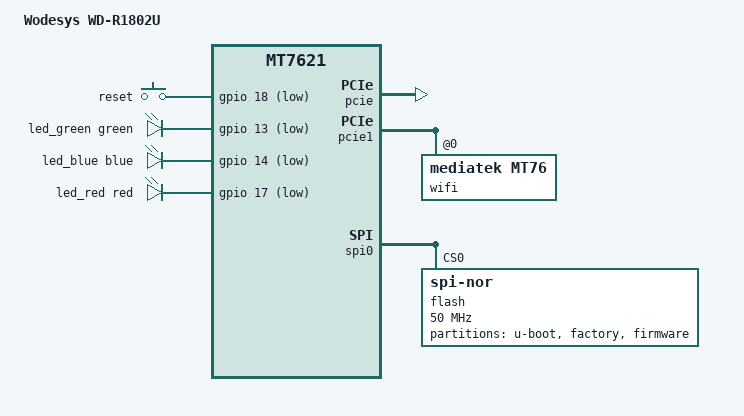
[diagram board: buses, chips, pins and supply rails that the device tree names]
// SPDX-License-Identifier: GPL-2.0-or-later OR MIT

#include "mt7621.dtsi"

#include <dt-bindings/gpio/gpio.h>
#include <dt-bindings/input/input.h>
#include <dt-bindings/leds/common.h>

/ {
	compatible = "wodesys,wd-r1802u", "mediatek,mt7621-soc";
	model = "Wodesys WD-R1802U";

	aliases {
		label-mac-device = &gmac0;
		led-boot = &led_blue;
		led-failsafe = &led_red;
		led-running = &led_green;
		led-upgrade = &led_blue;
	};

	chosen {
		bootargs = "console=ttyS0,115200";
	};

	gpio-keys {
		compatible = "gpio-keys";

		key-0 {
			label = "reset";
			gpios = <&gpio 18 GPIO_ACTIVE_LOW>;
			linux,code = <KEY_RESTART>;
		};
	};

	gpio-leds {
		compatible = "gpio-leds";

		led_green: led-0 {
			color = <LED_COLOR_ID_GREEN>;
			function = LED_FUNCTION_STATUS;
			gpios = <&gpio 13 GPIO_ACTIVE_LOW>;
		};

		led_blue: led-1 {
			color = <LED_COLOR_ID_BLUE>;
			function = LED_FUNCTION_STATUS;
			gpios = <&gpio 14 GPIO_ACTIVE_LOW>;
		};

		led_red: led-2 {
			color = <LED_COLOR_ID_RED>;
			function = LED_FUNCTION_STATUS;
			gpios = <&gpio 17 GPIO_ACTIVE_LOW>;
			panic-indicator;
		};
	};
};

&gmac0 {
	nvmem-cells = <&macaddr_factory_4 1>;
	nvmem-cell-names = "mac-address";
};

&pcie {
	status = "okay";
};

&pcie1 {
	wifi@0,0 {
		compatible = "mediatek,mt76";
		reg = <0x0000 0 0 0 0>;
		nvmem-cells = <&eeprom_factory_0>, <&precal_factory_e10>;
		nvmem-cell-names = "eeprom", "precal";
		mediatek,disable-radar-background;
	};
};

&spi0 {
	status = "okay";

	flash@0 {
		compatible = "jedec,spi-nor";
		reg = <0>;
		spi-max-frequency = <50000000>;

		partitions {
			compatible = "fixed-partitions";
			#address-cells = <1>;
			#size-cells = <1>;

			partition@0 {
				label = "u-boot";
				reg = <0x00000 0x30000>;
				read-only;
			};

			/* 0x30000-0x4ffff are unused
                           (flash contents is 0xff) */

			partition@50000 {
				label = "factory";
				reg = <0x50000 0x40000>;
				read-only;

				nvmem-layout {
					compatible = "fixed-layout";
					#address-cells = <1>;
					#size-cells = <1>;

					eeprom_factory_0: eeprom@0 {
						reg = <0x0 0xe00>;
					};

					macaddr_factory_4: macaddr@4 { // wifi 2.4
						compatible = "mac-base";
						reg = <0x4 0x6>;
						#nvmem-cell-cells = <1>;
					};

					precal_factory_e10: precal@e10 {
						reg = <0xe10 0x19c10>;
					};
				};
			};

			partition@90000 {
				compatible = "denx,uimage";
				label = "firmware";
				reg = <0x90000 0xf70000>;
			};
		};
	};
};

&state_default {
	gpio {
		groups = "jtag", "wdt";
		function = "gpio";
	};
};

&switch0 {
	ports {
		port@4 {
			status = "okay";
			label = "lan";
		};
	};
};

&xhci {
	status = "disabled";
};
